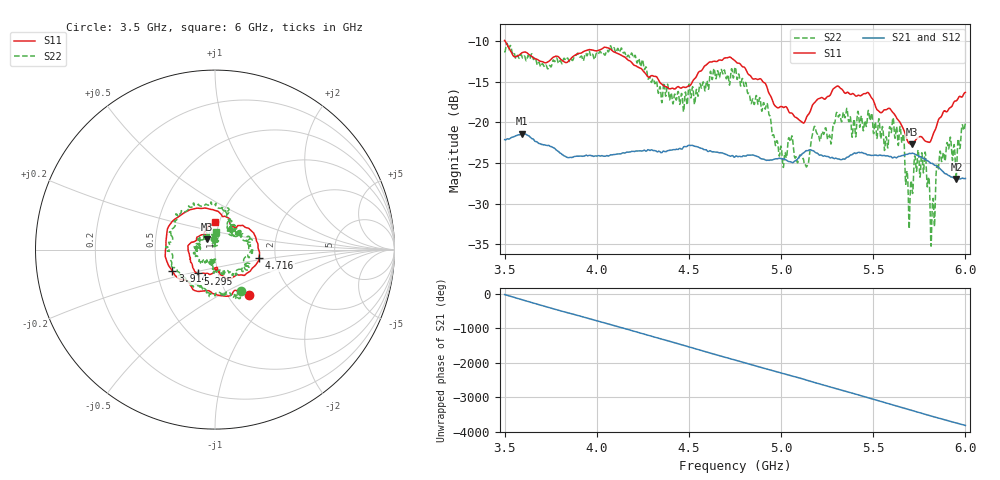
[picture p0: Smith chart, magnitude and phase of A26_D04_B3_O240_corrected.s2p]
! Created with skrf 1.9.0 (http://scikit-rf.org).
# Hz S RI R 50.0
!freq ReS11 ImS11 ReS21 ImS21 ReS12 ImS12 ReS22 ImS22
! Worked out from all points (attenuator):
!   1601 points, 3.5 GHz to 6 GHz, reference 50 ohm
!   highest |S21| = -21.40 dB at 3.594 GHz (marker M1); lowest = -27.0 dB at 5.952 GHz (marker M2)
!   lowest |S11| = -22.7 dB at 5.709 GHz (marker M3), VSWR 1.16, Z = 45.4 + j5.27 ohm
!   |S11| at or under -10 dB: 3.502 GHz to end of sweep
!   |S22| runs from -35.2 to -10.3 dB; largest |S21 - S12| = 0.0011
!   S11 on the Smith chart (normalised r, x): 3.5 GHz: 1.25, -0.71; 3.914 GHz: 0.60, -0.16; 4.716 GHz: 1.64, -0.17; 5.295 GHz: 0.80, -0.22; 6 GHz: 0.95, +0.30
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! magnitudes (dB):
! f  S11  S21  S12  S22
! 3.5 GHz  -9.9  -22.1  -22.1  -11.3
! 3.594 GHz  -11.5  -21.4  -21.4  -11.9
! 3.914 GHz  -11.5  -24.2  -24.1  -11.9
! 3.917 GHz  -11.5  -24.2  -24.1  -11.9
! 4.141 GHz  -11.9  -23.8  -23.7  -11.3
! 4.334 GHz  -14.8  -23.6  -23.5  -16.4
! 4.716 GHz  -12.0  -24.1  -24.1  -14.7
! 4.75 GHz  -12.4  -24.3  -24.2  -13.3
! 5.017 GHz  -18.2  -24.5  -24.5  -24.3
! 5.052 GHz  -18.9  -24.9  -24.8  -22.4
! 5.138 GHz  -19.4  -23.5  -23.4  -25.5
! 5.167 GHz  -18.1  -23.5  -23.4  -21.8
! 5.295 GHz  -15.7  -24.4  -24.4  -19.5
! 5.584 GHz  -18.3  -24.2  -24.1  -21.6
! 5.655 GHz  -20.4  -24.1  -24.0  -22.5
! 5.686 GHz  -22.3  -23.9  -23.9  -26.5
! 5.709 GHz  -22.7  -23.8  -23.7  -27.8
! 5.773 GHz  -22.1  -24.5  -24.4  -26.2
! 5.822 GHz  -21.7  -25.1  -25.0  -29.7
! 5.855 GHz  -19.6  -25.5  -25.5  -25.5
! 5.952 GHz  -17.4  -27.0  -26.9  -26.4
! 6 GHz  -16.3  -26.9  -26.8  -20.2
